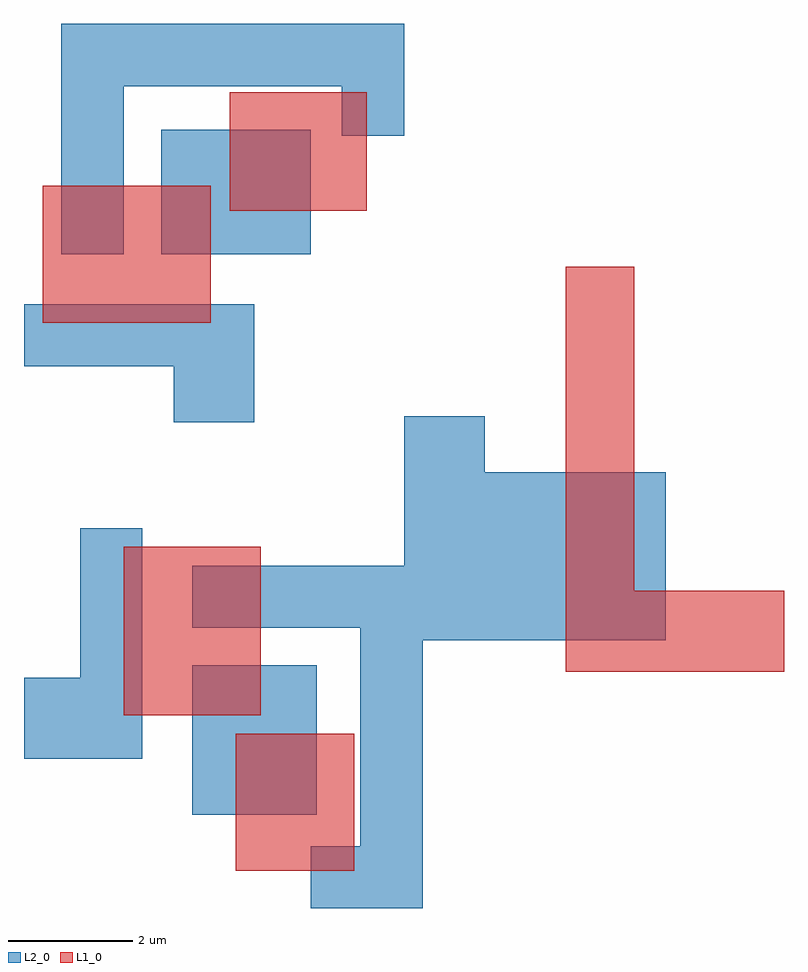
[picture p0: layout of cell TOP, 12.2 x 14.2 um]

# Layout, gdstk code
import gdstk
lib = gdstk.Library(unit=1e-6, precision=1e-09)
def R(c, l, rs):  # rectangles x0, y0, x1, y1
    for r in rs: c.add(gdstk.rectangle(r[:2], r[2:], *l))
def P(c, l, *ps):  # polygons
    for p in ps: c.add(gdstk.Polygon(p, *l))
L1_0 = (1, 0)
L2_0 = (2, 0)
L10_0 = (10, 0)
L11_0 = (11, 0)
L12_0 = (12, 0)
L20_0 = (20, 0)
L21_0 = (21, 0)
L22_0 = (22, 0)

top = lib.new_cell('TOP')
R(top, L1_0, [(3.9,0.9,5.8,3.1), (2.1,3.4,4.3,6.1), (0.8,9.7,3.5,11.9), (3.8,11.5,6,13.4)])
P(top, L1_0, [(9.2,4.1),(9.2,10.6),(10.3,10.6),(10.3,5.4),(12.7,5.4),(12.7,4.1)])
R(top, L2_0, [(3.2,1.8,5.2,4.2), (6.6,4.6,10.8,5.8), (2.7,10.8,5.1,12.8)])
P(top, L2_0, [(0.5,2.7),(0.5,4),(1.4,4),(1.4,6.4),(2.4,6.4),(2.4,2.7)],
  [(2.9,8.1),(2.9,9),(0.5,9),(0.5,10),(4.2,10),(4.2,8.1)],
  [(6.6,5.8),(6.6,8.2),(7.9,8.2),(7.9,7.3),(10.8,7.3),(10.8,5.8)])
top.add(gdstk.FlexPath([(3.2,5.3),(6.4,5.3),(6.4,0.8),(5.1,0.8)], 1, ends="flush", simple_path=True, layer=2, datatype=0))  # L2_0
top.add(gdstk.FlexPath([(1.6,10.8),(1.6,14),(6.1,14),(6.1,12.7)], 1, ends="flush", simple_path=True, layer=2, datatype=0))  # L2_0
top.add(gdstk.FlexPath([(3.9,0.9),(3.9,3.1)], 0, ends="flush", simple_path=True, layer=10, datatype=0))  # L10_0
top.add(gdstk.FlexPath([(3.9,3.1),(5.8,3.1)], 0, ends="flush", simple_path=True, layer=10, datatype=0))  # L10_0
top.add(gdstk.FlexPath([(5.8,3.1),(5.8,0.9)], 0, ends="flush", simple_path=True, layer=10, datatype=0))  # L10_0
top.add(gdstk.FlexPath([(5.8,0.9),(3.9,0.9)], 0, ends="flush", simple_path=True, layer=10, datatype=0))  # L10_0
top.add(gdstk.FlexPath([(2.1,3.4),(2.1,6.1)], 0, ends="flush", simple_path=True, layer=10, datatype=0))  # L10_0
top.add(gdstk.FlexPath([(2.1,6.1),(4.3,6.1)], 0, ends="flush", simple_path=True, layer=10, datatype=0))  # L10_0
top.add(gdstk.FlexPath([(4.3,6.1),(4.3,3.4)], 0, ends="flush", simple_path=True, layer=10, datatype=0))  # L10_0
top.add(gdstk.FlexPath([(4.3,3.4),(2.1,3.4)], 0, ends="flush", simple_path=True, layer=10, datatype=0))  # L10_0
top.add(gdstk.FlexPath([(9.2,4.1),(9.2,10.6)], 0, ends="flush", simple_path=True, layer=10, datatype=0))  # L10_0
top.add(gdstk.FlexPath([(9.2,10.6),(10.3,10.6)], 0, ends="flush", simple_path=True, layer=10, datatype=0))  # L10_0
top.add(gdstk.FlexPath([(10.3,10.6),(10.3,5.4)], 0, ends="flush", simple_path=True, layer=10, datatype=0))  # L10_0
top.add(gdstk.FlexPath([(10.3,5.4),(12.7,5.4)], 0, ends="flush", simple_path=True, layer=10, datatype=0))  # L10_0
top.add(gdstk.FlexPath([(12.7,5.4),(12.7,4.1)], 0, ends="flush", simple_path=True, layer=10, datatype=0))  # L10_0
top.add(gdstk.FlexPath([(12.7,4.1),(9.2,4.1)], 0, ends="flush", simple_path=True, layer=10, datatype=0))  # L10_0
top.add(gdstk.FlexPath([(0.8,9.7),(0.8,11.9)], 0, ends="flush", simple_path=True, layer=10, datatype=0))  # L10_0
top.add(gdstk.FlexPath([(0.8,11.9),(3.5,11.9)], 0, ends="flush", simple_path=True, layer=10, datatype=0))  # L10_0
top.add(gdstk.FlexPath([(3.5,11.9),(3.5,9.7)], 0, ends="flush", simple_path=True, layer=10, datatype=0))  # L10_0
top.add(gdstk.FlexPath([(3.5,9.7),(0.8,9.7)], 0, ends="flush", simple_path=True, layer=10, datatype=0))  # L10_0
top.add(gdstk.FlexPath([(3.8,11.5),(3.8,13.4)], 0, ends="flush", simple_path=True, layer=10, datatype=0))  # L10_0
top.add(gdstk.FlexPath([(3.8,13.4),(6,13.4)], 0, ends="flush", simple_path=True, layer=10, datatype=0))  # L10_0
top.add(gdstk.FlexPath([(6,13.4),(6,11.5)], 0, ends="flush", simple_path=True, layer=10, datatype=0))  # L10_0
top.add(gdstk.FlexPath([(6,11.5),(3.8,11.5)], 0, ends="flush", simple_path=True, layer=10, datatype=0))  # L10_0
top.add(gdstk.FlexPath([(2.1,3.4),(2.1,6.1)], 0, ends="flush", simple_path=True, layer=11, datatype=0))  # L11_0
top.add(gdstk.FlexPath([(2.1,6.1),(4.3,6.1)], 0, ends="flush", simple_path=True, layer=11, datatype=0))  # L11_0
top.add(gdstk.FlexPath([(4.3,6.1),(4.3,3.4)], 0, ends="flush", simple_path=True, layer=11, datatype=0))  # L11_0
top.add(gdstk.FlexPath([(4.3,3.4),(2.1,3.4)], 0, ends="flush", simple_path=True, layer=11, datatype=0))  # L11_0
top.add(gdstk.FlexPath([(0.8,9.7),(0.8,11.9)], 0, ends="flush", simple_path=True, layer=11, datatype=0))  # L11_0
top.add(gdstk.FlexPath([(0.8,11.9),(3.5,11.9)], 0, ends="flush", simple_path=True, layer=11, datatype=0))  # L11_0
top.add(gdstk.FlexPath([(3.5,11.9),(3.5,9.7)], 0, ends="flush", simple_path=True, layer=11, datatype=0))  # L11_0
top.add(gdstk.FlexPath([(3.5,9.7),(0.8,9.7)], 0, ends="flush", simple_path=True, layer=11, datatype=0))  # L11_0
top.add(gdstk.FlexPath([(3.9,0.9),(3.9,3.1)], 0, ends="flush", simple_path=True, layer=11, datatype=0))  # L11_0
top.add(gdstk.FlexPath([(3.9,3.1),(5.8,3.1)], 0, ends="flush", simple_path=True, layer=11, datatype=0))  # L11_0
top.add(gdstk.FlexPath([(5.8,3.1),(5.8,0.9)], 0, ends="flush", simple_path=True, layer=11, datatype=0))  # L11_0
top.add(gdstk.FlexPath([(5.8,0.9),(3.9,0.9)], 0, ends="flush", simple_path=True, layer=11, datatype=0))  # L11_0
top.add(gdstk.FlexPath([(3.8,11.5),(3.8,13.4)], 0, ends="flush", simple_path=True, layer=11, datatype=0))  # L11_0
top.add(gdstk.FlexPath([(3.8,13.4),(6,13.4)], 0, ends="flush", simple_path=True, layer=11, datatype=0))  # L11_0
top.add(gdstk.FlexPath([(6,13.4),(6,11.5)], 0, ends="flush", simple_path=True, layer=11, datatype=0))  # L11_0
top.add(gdstk.FlexPath([(6,11.5),(3.8,11.5)], 0, ends="flush", simple_path=True, layer=11, datatype=0))  # L11_0
top.add(gdstk.FlexPath([(9.2,4.1),(9.2,10.6)], 0, ends="flush", simple_path=True, layer=11, datatype=0))  # L11_0
top.add(gdstk.FlexPath([(9.2,10.6),(10.3,10.6)], 0, ends="flush", simple_path=True, layer=11, datatype=0))  # L11_0
top.add(gdstk.FlexPath([(10.3,10.6),(10.3,5.4)], 0, ends="flush", simple_path=True, layer=11, datatype=0))  # L11_0
top.add(gdstk.FlexPath([(10.3,5.4),(12.7,5.4)], 0, ends="flush", simple_path=True, layer=11, datatype=0))  # L11_0
top.add(gdstk.FlexPath([(12.7,5.4),(12.7,4.1)], 0, ends="flush", simple_path=True, layer=11, datatype=0))  # L11_0
top.add(gdstk.FlexPath([(12.7,4.1),(9.2,4.1)], 0, ends="flush", simple_path=True, layer=11, datatype=0))  # L11_0
top.add(gdstk.FlexPath([(2.1,3.4),(2.1,6.1)], 0, ends="flush", simple_path=True, layer=12, datatype=0))  # L12_0
top.add(gdstk.FlexPath([(2.1,6.1),(4.3,6.1)], 0, ends="flush", simple_path=True, layer=12, datatype=0))  # L12_0
top.add(gdstk.FlexPath([(4.3,6.1),(4.3,3.4)], 0, ends="flush", simple_path=True, layer=12, datatype=0))  # L12_0
top.add(gdstk.FlexPath([(4.3,3.4),(2.1,3.4)], 0, ends="flush", simple_path=True, layer=12, datatype=0))  # L12_0
top.add(gdstk.FlexPath([(0.8,9.7),(0.8,11.9)], 0, ends="flush", simple_path=True, layer=12, datatype=0))  # L12_0
top.add(gdstk.FlexPath([(0.8,11.9),(3.5,11.9)], 0, ends="flush", simple_path=True, layer=12, datatype=0))  # L12_0
top.add(gdstk.FlexPath([(3.5,11.9),(3.5,9.7)], 0, ends="flush", simple_path=True, layer=12, datatype=0))  # L12_0
top.add(gdstk.FlexPath([(3.5,9.7),(0.8,9.7)], 0, ends="flush", simple_path=True, layer=12, datatype=0))  # L12_0
top.add(gdstk.FlexPath([(9.2,4.1),(9.2,10.6)], 0, ends="flush", simple_path=True, layer=12, datatype=0))  # L12_0
top.add(gdstk.FlexPath([(9.2,10.6),(10.3,10.6)], 0, ends="flush", simple_path=True, layer=12, datatype=0))  # L12_0
top.add(gdstk.FlexPath([(10.3,10.6),(10.3,5.4)], 0, ends="flush", simple_path=True, layer=12, datatype=0))  # L12_0
top.add(gdstk.FlexPath([(10.3,5.4),(12.7,5.4)], 0, ends="flush", simple_path=True, layer=12, datatype=0))  # L12_0
top.add(gdstk.FlexPath([(12.7,5.4),(12.7,4.1)], 0, ends="flush", simple_path=True, layer=12, datatype=0))  # L12_0
top.add(gdstk.FlexPath([(12.7,4.1),(9.2,4.1)], 0, ends="flush", simple_path=True, layer=12, datatype=0))  # L12_0
top.add(gdstk.FlexPath([(3.9,0.9),(3.9,3.1)], 0, ends="flush", simple_path=True, layer=12, datatype=0))  # L12_0
top.add(gdstk.FlexPath([(3.9,3.1),(5.8,3.1)], 0, ends="flush", simple_path=True, layer=12, datatype=0))  # L12_0
top.add(gdstk.FlexPath([(5.8,3.1),(5.8,0.9)], 0, ends="flush", simple_path=True, layer=12, datatype=0))  # L12_0
top.add(gdstk.FlexPath([(5.8,0.9),(3.9,0.9)], 0, ends="flush", simple_path=True, layer=12, datatype=0))  # L12_0
top.add(gdstk.FlexPath([(3.8,11.5),(3.8,13.4)], 0, ends="flush", simple_path=True, layer=12, datatype=0))  # L12_0
top.add(gdstk.FlexPath([(3.8,13.4),(6,13.4)], 0, ends="flush", simple_path=True, layer=12, datatype=0))  # L12_0
top.add(gdstk.FlexPath([(6,13.4),(6,11.5)], 0, ends="flush", simple_path=True, layer=12, datatype=0))  # L12_0
top.add(gdstk.FlexPath([(6,11.5),(3.8,11.5)], 0, ends="flush", simple_path=True, layer=12, datatype=0))  # L12_0
top.add(gdstk.FlexPath([(3.2,1.8),(3.2,4.2)], 0, ends="flush", simple_path=True, layer=20, datatype=0))  # L20_0
top.add(gdstk.FlexPath([(3.2,4.2),(5.2,4.2)], 0, ends="flush", simple_path=True, layer=20, datatype=0))  # L20_0
top.add(gdstk.FlexPath([(5.2,4.2),(5.2,1.8)], 0, ends="flush", simple_path=True, layer=20, datatype=0))  # L20_0
top.add(gdstk.FlexPath([(5.2,1.8),(3.2,1.8)], 0, ends="flush", simple_path=True, layer=20, datatype=0))  # L20_0
top.add(gdstk.FlexPath([(0.5,2.7),(0.5,4)], 0, ends="flush", simple_path=True, layer=20, datatype=0))  # L20_0
top.add(gdstk.FlexPath([(0.5,4),(1.4,4)], 0, ends="flush", simple_path=True, layer=20, datatype=0))  # L20_0
top.add(gdstk.FlexPath([(1.4,4),(1.4,6.4)], 0, ends="flush", simple_path=True, layer=20, datatype=0))  # L20_0
top.add(gdstk.FlexPath([(1.4,6.4),(2.4,6.4)], 0, ends="flush", simple_path=True, layer=20, datatype=0))  # L20_0
top.add(gdstk.FlexPath([(2.4,6.4),(2.4,2.7)], 0, ends="flush", simple_path=True, layer=20, datatype=0))  # L20_0
top.add(gdstk.FlexPath([(2.4,2.7),(0.5,2.7)], 0, ends="flush", simple_path=True, layer=20, datatype=0))  # L20_0
top.add(gdstk.FlexPath([(5.1,0.3),(5.1,1.3)], 0, ends="flush", simple_path=True, layer=20, datatype=0))  # L20_0
top.add(gdstk.FlexPath([(5.1,1.3),(5.9,1.3)], 0, ends="flush", simple_path=True, layer=20, datatype=0))  # L20_0
top.add(gdstk.FlexPath([(5.9,1.3),(5.9,4.8)], 0, ends="flush", simple_path=True, layer=20, datatype=0))  # L20_0
top.add(gdstk.FlexPath([(5.9,4.8),(3.2,4.8)], 0, ends="flush", simple_path=True, layer=20, datatype=0))  # L20_0
top.add(gdstk.FlexPath([(3.2,4.8),(3.2,5.8)], 0, ends="flush", simple_path=True, layer=20, datatype=0))  # L20_0
top.add(gdstk.FlexPath([(3.2,5.8),(6.6,5.8)], 0, ends="flush", simple_path=True, layer=20, datatype=0))  # L20_0
top.add(gdstk.FlexPath([(6.6,5.8),(6.6,8.2)], 0, ends="flush", simple_path=True, layer=20, datatype=0))  # L20_0
top.add(gdstk.FlexPath([(6.6,8.2),(7.9,8.2)], 0, ends="flush", simple_path=True, layer=20, datatype=0))  # L20_0
top.add(gdstk.FlexPath([(7.9,8.2),(7.9,7.3)], 0, ends="flush", simple_path=True, layer=20, datatype=0))  # L20_0
top.add(gdstk.FlexPath([(7.9,7.3),(10.8,7.3)], 0, ends="flush", simple_path=True, layer=20, datatype=0))  # L20_0
top.add(gdstk.FlexPath([(10.8,7.3),(10.8,4.6)], 0, ends="flush", simple_path=True, layer=20, datatype=0))  # L20_0
top.add(gdstk.FlexPath([(10.8,4.6),(6.9,4.6)], 0, ends="flush", simple_path=True, layer=20, datatype=0))  # L20_0
top.add(gdstk.FlexPath([(6.9,4.6),(6.9,0.3)], 0, ends="flush", simple_path=True, layer=20, datatype=0))  # L20_0
top.add(gdstk.FlexPath([(6.9,0.3),(5.1,0.3)], 0, ends="flush", simple_path=True, layer=20, datatype=0))  # L20_0
top.add(gdstk.FlexPath([(2.9,8.1),(2.9,9)], 0, ends="flush", simple_path=True, layer=20, datatype=0))  # L20_0
top.add(gdstk.FlexPath([(2.9,9),(0.5,9)], 0, ends="flush", simple_path=True, layer=20, datatype=0))  # L20_0
top.add(gdstk.FlexPath([(0.5,9),(0.5,10)], 0, ends="flush", simple_path=True, layer=20, datatype=0))  # L20_0
top.add(gdstk.FlexPath([(0.5,10),(4.2,10)], 0, ends="flush", simple_path=True, layer=20, datatype=0))  # L20_0
top.add(gdstk.FlexPath([(4.2,10),(4.2,8.1)], 0, ends="flush", simple_path=True, layer=20, datatype=0))  # L20_0
top.add(gdstk.FlexPath([(4.2,8.1),(2.9,8.1)], 0, ends="flush", simple_path=True, layer=20, datatype=0))  # L20_0
top.add(gdstk.FlexPath([(2.7,10.8),(2.7,12.8)], 0, ends="flush", simple_path=True, layer=20, datatype=0))  # L20_0
top.add(gdstk.FlexPath([(2.7,12.8),(5.1,12.8)], 0, ends="flush", simple_path=True, layer=20, datatype=0))  # L20_0
top.add(gdstk.FlexPath([(5.1,12.8),(5.1,10.8)], 0, ends="flush", simple_path=True, layer=20, datatype=0))  # L20_0
top.add(gdstk.FlexPath([(5.1,10.8),(2.7,10.8)], 0, ends="flush", simple_path=True, layer=20, datatype=0))  # L20_0
top.add(gdstk.FlexPath([(1.1,10.8),(1.1,14.5)], 0, ends="flush", simple_path=True, layer=20, datatype=0))  # L20_0
top.add(gdstk.FlexPath([(1.1,14.5),(6.6,14.5)], 0, ends="flush", simple_path=True, layer=20, datatype=0))  # L20_0
top.add(gdstk.FlexPath([(6.6,14.5),(6.6,12.7)], 0, ends="flush", simple_path=True, layer=20, datatype=0))  # L20_0
top.add(gdstk.FlexPath([(6.6,12.7),(5.6,12.7)], 0, ends="flush", simple_path=True, layer=20, datatype=0))  # L20_0
top.add(gdstk.FlexPath([(5.6,12.7),(5.6,13.5)], 0, ends="flush", simple_path=True, layer=20, datatype=0))  # L20_0
top.add(gdstk.FlexPath([(5.6,13.5),(2.1,13.5)], 0, ends="flush", simple_path=True, layer=20, datatype=0))  # L20_0
top.add(gdstk.FlexPath([(2.1,13.5),(2.1,10.8)], 0, ends="flush", simple_path=True, layer=20, datatype=0))  # L20_0
top.add(gdstk.FlexPath([(2.1,10.8),(1.1,10.8)], 0, ends="flush", simple_path=True, layer=20, datatype=0))  # L20_0
top.add(gdstk.FlexPath([(0.5,2.7),(0.5,4)], 0, ends="flush", simple_path=True, layer=21, datatype=0))  # L21_0
top.add(gdstk.FlexPath([(0.5,4),(1.4,4)], 0, ends="flush", simple_path=True, layer=21, datatype=0))  # L21_0
top.add(gdstk.FlexPath([(1.4,4),(1.4,6.4)], 0, ends="flush", simple_path=True, layer=21, datatype=0))  # L21_0
top.add(gdstk.FlexPath([(1.4,6.4),(2.4,6.4)], 0, ends="flush", simple_path=True, layer=21, datatype=0))  # L21_0
top.add(gdstk.FlexPath([(2.4,6.4),(2.4,2.7)], 0, ends="flush", simple_path=True, layer=21, datatype=0))  # L21_0
top.add(gdstk.FlexPath([(2.4,2.7),(0.5,2.7)], 0, ends="flush", simple_path=True, layer=21, datatype=0))  # L21_0
top.add(gdstk.FlexPath([(2.9,8.1),(2.9,9)], 0, ends="flush", simple_path=True, layer=21, datatype=0))  # L21_0
top.add(gdstk.FlexPath([(2.9,9),(0.5,9)], 0, ends="flush", simple_path=True, layer=21, datatype=0))  # L21_0
top.add(gdstk.FlexPath([(0.5,9),(0.5,10)], 0, ends="flush", simple_path=True, layer=21, datatype=0))  # L21_0
top.add(gdstk.FlexPath([(0.5,10),(4.2,10)], 0, ends="flush", simple_path=True, layer=21, datatype=0))  # L21_0
top.add(gdstk.FlexPath([(4.2,10),(4.2,8.1)], 0, ends="flush", simple_path=True, layer=21, datatype=0))  # L21_0
top.add(gdstk.FlexPath([(4.2,8.1),(2.9,8.1)], 0, ends="flush", simple_path=True, layer=21, datatype=0))  # L21_0
top.add(gdstk.FlexPath([(5.1,0.3),(5.1,1.3)], 0, ends="flush", simple_path=True, layer=21, datatype=0))  # L21_0
top.add(gdstk.FlexPath([(5.1,1.3),(5.9,1.3)], 0, ends="flush", simple_path=True, layer=21, datatype=0))  # L21_0
top.add(gdstk.FlexPath([(5.9,1.3),(5.9,4.8)], 0, ends="flush", simple_path=True, layer=21, datatype=0))  # L21_0
top.add(gdstk.FlexPath([(5.9,4.8),(3.2,4.8)], 0, ends="flush", simple_path=True, layer=21, datatype=0))  # L21_0
top.add(gdstk.FlexPath([(3.2,4.8),(3.2,5.8)], 0, ends="flush", simple_path=True, layer=21, datatype=0))  # L21_0
top.add(gdstk.FlexPath([(3.2,5.8),(10.8,5.8)], 0, ends="flush", simple_path=True, layer=21, datatype=0))  # L21_0
top.add(gdstk.FlexPath([(10.8,5.8),(10.8,4.6)], 0, ends="flush", simple_path=True, layer=21, datatype=0))  # L21_0
top.add(gdstk.FlexPath([(10.8,4.6),(6.9,4.6)], 0, ends="flush", simple_path=True, layer=21, datatype=0))  # L21_0
top.add(gdstk.FlexPath([(6.9,4.6),(6.9,0.3)], 0, ends="flush", simple_path=True, layer=21, datatype=0))  # L21_0
top.add(gdstk.FlexPath([(6.9,0.3),(5.1,0.3)], 0, ends="flush", simple_path=True, layer=21, datatype=0))  # L21_0
top.add(gdstk.FlexPath([(1.1,10.8),(1.1,14.5)], 0, ends="flush", simple_path=True, layer=21, datatype=0))  # L21_0
top.add(gdstk.FlexPath([(1.1,14.5),(6.6,14.5)], 0, ends="flush", simple_path=True, layer=21, datatype=0))  # L21_0
top.add(gdstk.FlexPath([(6.6,14.5),(6.6,12.7)], 0, ends="flush", simple_path=True, layer=21, datatype=0))  # L21_0
top.add(gdstk.FlexPath([(6.6,12.7),(5.6,12.7)], 0, ends="flush", simple_path=True, layer=21, datatype=0))  # L21_0
top.add(gdstk.FlexPath([(5.6,12.7),(5.6,13.5)], 0, ends="flush", simple_path=True, layer=21, datatype=0))  # L21_0
top.add(gdstk.FlexPath([(5.6,13.5),(2.1,13.5)], 0, ends="flush", simple_path=True, layer=21, datatype=0))  # L21_0
top.add(gdstk.FlexPath([(2.1,13.5),(2.1,10.8)], 0, ends="flush", simple_path=True, layer=21, datatype=0))  # L21_0
top.add(gdstk.FlexPath([(2.1,10.8),(1.1,10.8)], 0, ends="flush", simple_path=True, layer=21, datatype=0))  # L21_0
top.add(gdstk.FlexPath([(3.2,1.8),(3.2,4.2)], 0, ends="flush", simple_path=True, layer=21, datatype=0))  # L21_0
top.add(gdstk.FlexPath([(3.2,4.2),(5.2,4.2)], 0, ends="flush", simple_path=True, layer=21, datatype=0))  # L21_0
top.add(gdstk.FlexPath([(5.2,4.2),(5.2,1.8)], 0, ends="flush", simple_path=True, layer=21, datatype=0))  # L21_0
top.add(gdstk.FlexPath([(5.2,1.8),(3.2,1.8)], 0, ends="flush", simple_path=True, layer=21, datatype=0))  # L21_0
top.add(gdstk.FlexPath([(6.6,5.8),(6.6,8.2)], 0, ends="flush", simple_path=True, layer=21, datatype=0))  # L21_0
top.add(gdstk.FlexPath([(6.6,8.2),(7.9,8.2)], 0, ends="flush", simple_path=True, layer=21, datatype=0))  # L21_0
top.add(gdstk.FlexPath([(7.9,8.2),(7.9,7.3)], 0, ends="flush", simple_path=True, layer=21, datatype=0))  # L21_0
top.add(gdstk.FlexPath([(7.9,7.3),(10.8,7.3)], 0, ends="flush", simple_path=True, layer=21, datatype=0))  # L21_0
top.add(gdstk.FlexPath([(10.8,7.3),(10.8,5.8)], 0, ends="flush", simple_path=True, layer=21, datatype=0))  # L21_0
top.add(gdstk.FlexPath([(10.8,5.8),(6.6,5.8)], 0, ends="flush", simple_path=True, layer=21, datatype=0))  # L21_0
top.add(gdstk.FlexPath([(2.7,10.8),(2.7,12.8)], 0, ends="flush", simple_path=True, layer=21, datatype=0))  # L21_0
top.add(gdstk.FlexPath([(2.7,12.8),(5.1,12.8)], 0, ends="flush", simple_path=True, layer=21, datatype=0))  # L21_0
top.add(gdstk.FlexPath([(5.1,12.8),(5.1,10.8)], 0, ends="flush", simple_path=True, layer=21, datatype=0))  # L21_0
top.add(gdstk.FlexPath([(5.1,10.8),(2.7,10.8)], 0, ends="flush", simple_path=True, layer=21, datatype=0))  # L21_0
top.add(gdstk.FlexPath([(0.5,2.7),(0.5,4)], 0, ends="flush", simple_path=True, layer=22, datatype=0))  # L22_0
top.add(gdstk.FlexPath([(0.5,4),(1.4,4)], 0, ends="flush", simple_path=True, layer=22, datatype=0))  # L22_0
top.add(gdstk.FlexPath([(1.4,4),(1.4,6.4)], 0, ends="flush", simple_path=True, layer=22, datatype=0))  # L22_0
top.add(gdstk.FlexPath([(1.4,6.4),(2.4,6.4)], 0, ends="flush", simple_path=True, layer=22, datatype=0))  # L22_0
top.add(gdstk.FlexPath([(2.4,6.4),(2.4,2.7)], 0, ends="flush", simple_path=True, layer=22, datatype=0))  # L22_0
top.add(gdstk.FlexPath([(2.4,2.7),(0.5,2.7)], 0, ends="flush", simple_path=True, layer=22, datatype=0))  # L22_0
top.add(gdstk.FlexPath([(2.9,8.1),(2.9,9)], 0, ends="flush", simple_path=True, layer=22, datatype=0))  # L22_0
top.add(gdstk.FlexPath([(2.9,9),(0.5,9)], 0, ends="flush", simple_path=True, layer=22, datatype=0))  # L22_0
top.add(gdstk.FlexPath([(0.5,9),(0.5,10)], 0, ends="flush", simple_path=True, layer=22, datatype=0))  # L22_0
top.add(gdstk.FlexPath([(0.5,10),(4.2,10)], 0, ends="flush", simple_path=True, layer=22, datatype=0))  # L22_0
top.add(gdstk.FlexPath([(4.2,10),(4.2,8.1)], 0, ends="flush", simple_path=True, layer=22, datatype=0))  # L22_0
top.add(gdstk.FlexPath([(4.2,8.1),(2.9,8.1)], 0, ends="flush", simple_path=True, layer=22, datatype=0))  # L22_0
top.add(gdstk.FlexPath([(6.6,5.8),(6.6,8.2)], 0, ends="flush", simple_path=True, layer=22, datatype=0))  # L22_0
top.add(gdstk.FlexPath([(6.6,8.2),(7.9,8.2)], 0, ends="flush", simple_path=True, layer=22, datatype=0))  # L22_0
top.add(gdstk.FlexPath([(7.9,8.2),(7.9,7.3)], 0, ends="flush", simple_path=True, layer=22, datatype=0))  # L22_0
top.add(gdstk.FlexPath([(7.9,7.3),(10.8,7.3)], 0, ends="flush", simple_path=True, layer=22, datatype=0))  # L22_0
top.add(gdstk.FlexPath([(10.8,7.3),(10.8,5.8)], 0, ends="flush", simple_path=True, layer=22, datatype=0))  # L22_0
top.add(gdstk.FlexPath([(10.8,5.8),(6.6,5.8)], 0, ends="flush", simple_path=True, layer=22, datatype=0))  # L22_0
top.add(gdstk.FlexPath([(6.6,4.6),(6.6,5.8)], 0, ends="flush", simple_path=True, layer=22, datatype=0))  # L22_0
top.add(gdstk.FlexPath([(6.6,5.8),(10.8,5.8)], 0, ends="flush", simple_path=True, layer=22, datatype=0))  # L22_0
top.add(gdstk.FlexPath([(10.8,5.8),(10.8,4.6)], 0, ends="flush", simple_path=True, layer=22, datatype=0))  # L22_0
top.add(gdstk.FlexPath([(10.8,4.6),(6.6,4.6)], 0, ends="flush", simple_path=True, layer=22, datatype=0))  # L22_0
top.add(gdstk.FlexPath([(5.1,0.3),(5.1,1.3)], 0, ends="flush", simple_path=True, layer=22, datatype=0))  # L22_0
top.add(gdstk.FlexPath([(5.1,1.3),(5.9,1.3)], 0, ends="flush", simple_path=True, layer=22, datatype=0))  # L22_0
top.add(gdstk.FlexPath([(5.9,1.3),(5.9,4.8)], 0, ends="flush", simple_path=True, layer=22, datatype=0))  # L22_0
top.add(gdstk.FlexPath([(5.9,4.8),(3.2,4.8)], 0, ends="flush", simple_path=True, layer=22, datatype=0))  # L22_0
top.add(gdstk.FlexPath([(3.2,4.8),(3.2,5.8)], 0, ends="flush", simple_path=True, layer=22, datatype=0))  # L22_0
top.add(gdstk.FlexPath([(3.2,5.8),(6.9,5.8)], 0, ends="flush", simple_path=True, layer=22, datatype=0))  # L22_0
top.add(gdstk.FlexPath([(6.9,5.8),(6.9,0.3)], 0, ends="flush", simple_path=True, layer=22, datatype=0))  # L22_0
top.add(gdstk.FlexPath([(6.9,0.3),(5.1,0.3)], 0, ends="flush", simple_path=True, layer=22, datatype=0))  # L22_0
top.add(gdstk.FlexPath([(3.2,1.8),(3.2,4.2)], 0, ends="flush", simple_path=True, layer=22, datatype=0))  # L22_0
top.add(gdstk.FlexPath([(3.2,4.2),(5.2,4.2)], 0, ends="flush", simple_path=True, layer=22, datatype=0))  # L22_0
top.add(gdstk.FlexPath([(5.2,4.2),(5.2,1.8)], 0, ends="flush", simple_path=True, layer=22, datatype=0))  # L22_0
top.add(gdstk.FlexPath([(5.2,1.8),(3.2,1.8)], 0, ends="flush", simple_path=True, layer=22, datatype=0))  # L22_0
top.add(gdstk.FlexPath([(1.1,10.8),(1.1,14.5)], 0, ends="flush", simple_path=True, layer=22, datatype=0))  # L22_0
top.add(gdstk.FlexPath([(1.1,14.5),(6.6,14.5)], 0, ends="flush", simple_path=True, layer=22, datatype=0))  # L22_0
top.add(gdstk.FlexPath([(6.6,14.5),(6.6,12.7)], 0, ends="flush", simple_path=True, layer=22, datatype=0))  # L22_0
top.add(gdstk.FlexPath([(6.6,12.7),(5.6,12.7)], 0, ends="flush", simple_path=True, layer=22, datatype=0))  # L22_0
top.add(gdstk.FlexPath([(5.6,12.7),(5.6,13.5)], 0, ends="flush", simple_path=True, layer=22, datatype=0))  # L22_0
top.add(gdstk.FlexPath([(5.6,13.5),(2.1,13.5)], 0, ends="flush", simple_path=True, layer=22, datatype=0))  # L22_0
top.add(gdstk.FlexPath([(2.1,13.5),(2.1,10.8)], 0, ends="flush", simple_path=True, layer=22, datatype=0))  # L22_0
top.add(gdstk.FlexPath([(2.1,10.8),(1.1,10.8)], 0, ends="flush", simple_path=True, layer=22, datatype=0))  # L22_0
top.add(gdstk.FlexPath([(2.7,10.8),(2.7,12.8)], 0, ends="flush", simple_path=True, layer=22, datatype=0))  # L22_0
top.add(gdstk.FlexPath([(2.7,12.8),(5.1,12.8)], 0, ends="flush", simple_path=True, layer=22, datatype=0))  # L22_0
top.add(gdstk.FlexPath([(5.1,12.8),(5.1,10.8)], 0, ends="flush", simple_path=True, layer=22, datatype=0))  # L22_0
top.add(gdstk.FlexPath([(5.1,10.8),(2.7,10.8)], 0, ends="flush", simple_path=True, layer=22, datatype=0))  # L22_0

lib.write_gds('TOP.gds')
